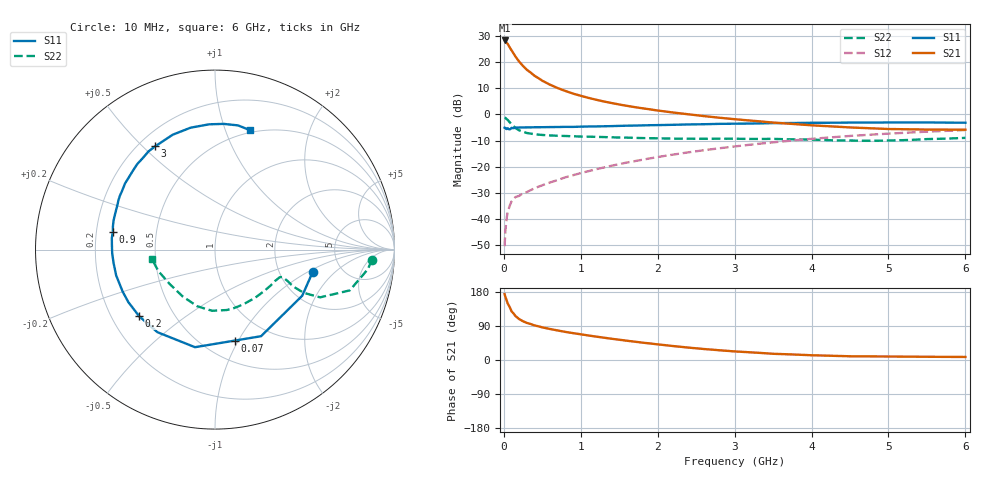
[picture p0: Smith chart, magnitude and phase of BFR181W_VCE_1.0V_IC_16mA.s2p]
! Infineon Technologies  Discrete & RF Semiconductors
! BFR181W
! VCE =  1.0 V,  IC =  16 mA
! Common Emitter S-Parameters:  Jan 2017
# GHz  S  MA  R  50
!  f  S11  S21  S12  S22
! GHz  MAG  ANG  MAG  ANG  MAG  ANG  MAG  ANG
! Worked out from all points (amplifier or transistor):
!   77 points, 10 MHz to 6 GHz, reference 50 ohm
!   highest |S21| = 28.3 dB at 10 MHz (marker M1)
!   |S21| within 3 dB of that: start of sweep to 83.47 MHz
!   unconditionally stable (mu >= 1): start of sweep to 10.36 MHz; 274.3 MHz to end of sweep
!   at 130 MHz: K = 0.60, MSG = 27.7 dB, |S12| = -32.3 dB
!   at 2.2 GHz: K = 1.32, MAG = 4.7 dB, |S12| = -15.4 dB
!   at 6 GHz: K = 1.19, MAG = -2.5 dB, |S12| = -6.0 dB
!   S11 on the Smith chart (normalised r, x): 10 MHz: 3.08, -1.12; 70 MHz: 0.70, -0.97; 200 MHz: 0.32, -0.34; 900 MHz: 0.27, +0.08; 3 GHz: 0.26, +0.55; 6 GHz: 0.48, +1.22
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0.01  0.5583 -13.0  26.14 174.0  0.003 82.6  0.8764 -3.7
0.02  0.5498 -27.9  25.46 166.6  0.0059 83.5  0.8586 -7.3
0.05  0.5465 -62.0  22.55 149.0  0.0136 66.1  0.7852 -16.8
0.07  0.5187 -77.8  20.01 142.1  0.0167 60.2  0.7272 -19.5
0.1  0.5551 -101.6  16.93 128.3  0.0216 54.7  0.6439 -24.4
0.15  0.561 -124.9  12.93 116.2  0.0261 49.9  0.5504 -26.0
0.2  0.5624 -138.7  10.25 107.9  0.0276 49.2  0.4958 -25.4
0.25  0.5646 -148.8  8.459 102.1  0.0312 49.8  0.4634 -24.5
0.3  0.5652 -155.6  7.16 97.8  0.0327 51.2  0.4411 -23.4
0.4  0.5692 -165.4  5.49 91.2  0.0386 54.6  0.4177 -22.5
0.5  0.5701 -172.6  4.426 86.1  0.044 57.9  0.4046 -22.3
0.6  0.5732 -178.0  3.716 81.8  0.0498 60.9  0.3966 -22.7
0.7  0.5746 177.8  3.2 77.9  0.0554 63.5  0.3909 -23.4
0.9  0.5778 170.1  2.509 70.9  0.0686 66.7  0.3822 -26.1
1.1  0.588 163.9  2.078 64.7  0.0819 69.3  0.3757 -29.2
1.5  0.604 153.0  1.552 53.5  0.1117 70.9  0.3615 -37.3
2.1  0.6288 138.7  1.139 39.1  0.1615 69.8  0.3467 -52.9
3  0.665 120.1  0.811 22.6  0.2436 64.0  0.3429 -79.2
3.1  0.6668 118.1  0.788 21.5  0.2532 62.9  0.341 -81.9
4.1  0.6927 99.6  0.608 12.0  0.3499 52.5  0.3257 -110.7
5.1  0.7017 84.7  0.524 9.1  0.4369 40.5  0.3191 -146.4
6  0.6937 73.6  0.511 8.0  0.5029 29.7  0.356 -171.8
